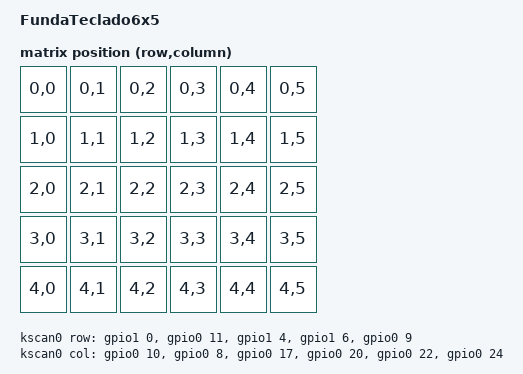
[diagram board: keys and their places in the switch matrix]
/*
 * Copyright (c) 2025 The ZMK Contributors
 *
 * SPDX-License-Identifier: MIT
 */

#include <dt-bindings/zmk/matrix_transform.h>

/ {
    model = "FundaTeclado6x5";
    compatible = "alice,fundateclado";

    chosen {
        zmk,kscan = &kscan0;
        zmk,matrix_transform = &default_transform;
    };

    default_transform: keymap_transform_0 {
        compatible = "zmk,matrix-transform";
        columns = <6>;
        rows = <5>;
        // Mapeo simple de 6x5
        map = <
            RC(0,0) RC(0,1) RC(0,2) RC(0,3) RC(0,4) RC(0,5)
            RC(1,0) RC(1,1) RC(1,2) RC(1,3) RC(1,4) RC(1,5)
            RC(2,0) RC(2,1) RC(2,2) RC(2,3) RC(2,4) RC(2,5)
            RC(3,0) RC(3,1) RC(3,2) RC(3,3) RC(3,4) RC(3,5)
            RC(4,0) RC(4,1) RC(4,2) RC(4,3) RC(4,4) RC(4,5)
        >;
    };

    // MATRIZ PRINCIPAL (TECLAS)
    kscan0: kscan_0 {
        compatible = "zmk,kscan-gpio-matrix";
        label = "KSCAN";
        diode-direction = "col2row";

        // Definición CORREGIDA según "Mapa de Rescate"
        // Usamos &gpio0 y &gpio1 directamente para máxima compatibilidad con el clon
        
        col-gpios
            = <&gpio0 10 GPIO_ACTIVE_HIGH> // Col 0 (Moved from D1/P0.06 to D16/P0.10)
            , <&gpio0 8  GPIO_ACTIVE_HIGH> // Col 1
            , <&gpio0 17 GPIO_ACTIVE_HIGH> // Col 2
            , <&gpio0 20 GPIO_ACTIVE_HIGH> // Col 3
            , <&gpio0 22 GPIO_ACTIVE_HIGH> // Col 4
            , <&gpio0 24 GPIO_ACTIVE_HIGH> // Col 5
            ;

        row-gpios
            = <&gpio1 0  (GPIO_ACTIVE_HIGH | GPIO_PULL_DOWN)> // Fila 0
            , <&gpio0 11 (GPIO_ACTIVE_HIGH | GPIO_PULL_DOWN)> // Fila 1
            , <&gpio1 4  (GPIO_ACTIVE_HIGH | GPIO_PULL_DOWN)> // Fila 2
            , <&gpio1 6  (GPIO_ACTIVE_HIGH | GPIO_PULL_DOWN)> // Fila 3
            , <&gpio0 9  (GPIO_ACTIVE_HIGH | GPIO_PULL_DOWN)> // Fila 4
            ;
    };

    // JOYSTICK NODES REMOVED BY REQUEST
};

// Main KSCAN restored
/ {
    chosen {
        zmk,kscan = &kscan0;
    };
};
